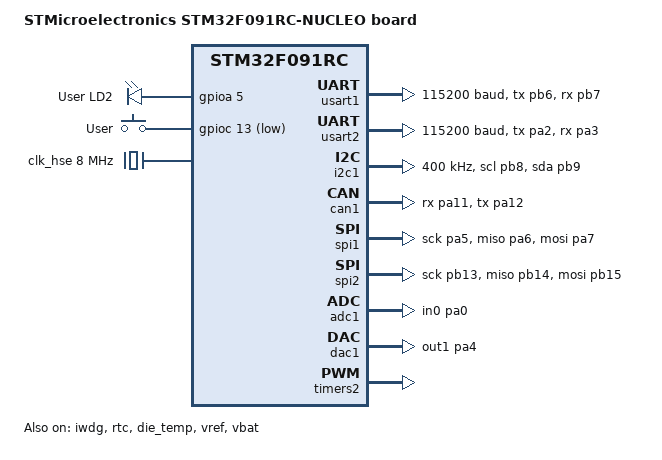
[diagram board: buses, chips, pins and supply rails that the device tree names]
/*
 * Copyright (c) 2017 Bobby Noelte
 *
 * SPDX-License-Identifier: Apache-2.0
 */

/dts-v1/;
#include <st/f0/stm32f091Xc.dtsi>
#include <st/f0/stm32f091r(b-c)tx-pinctrl.dtsi>
#include "arduino_r3_connector.dtsi"
#include "st_morpho_connector.dtsi"
#include <zephyr/dt-bindings/input/input-event-codes.h>

/ {
	model = "STMicroelectronics STM32F091RC-NUCLEO board";
	compatible = "st,stm32f091rc-nucleo";

	chosen {
		zephyr,console = &usart2;
		zephyr,shell-uart = &usart2;
		zephyr,sram = &sram0;
		zephyr,flash = &flash0;
		zephyr,canbus = &can1;
	};

	leds: leds {
		compatible = "gpio-leds";
		green_led_2: led_2 {
			gpios = <&gpioa 5 GPIO_ACTIVE_HIGH>;
			label = "User LD2";
		};
	};

	gpio_keys {
		compatible = "gpio-keys";
		user_button: button {
			label = "User";
			gpios = <&gpioc 13 GPIO_ACTIVE_LOW>;
			zephyr,code = <INPUT_KEY_0>;
		};
	};

	pwmleds: pwmleds {
		compatible = "pwm-leds";
		/* NOTE: disabled by default, PWM2 conflicts with SPI1 */
		status = "disabled";

		green_pwm_led: green_pwm_led {
			pwms = <&pwm2 1 PWM_MSEC(20) PWM_POLARITY_NORMAL>;
		};
	};

	aliases {
		led0 = &green_led_2;
		sw0 = &user_button;
		pwm-led0 = &green_pwm_led;
		watchdog0 = &iwdg;
		die-temp0 = &die_temp;
		volt-sensor0 = &vref;
		volt-sensor1 = &vbat;
	};
};

&clk_hse {
	hse-bypass;
	clock-frequency = <DT_FREQ_M(8)>; /* STLink 8MHz clock */
	status = "okay";
};

&clk_lsi {
	status = "okay";
};

&pll {
	prediv = <1>;
	mul = <6>;
	clocks = <&clk_hse>;
	status = "okay";
};

&rcc {
	clocks = <&pll>;
	clock-frequency = <DT_FREQ_M(48)>;
	ahb-prescaler = <1>;
	apb1-prescaler = <1>;
};

&usart1 {
	pinctrl-0 = <&usart1_tx_pb6 &usart1_rx_pb7>;
	pinctrl-names = "default";
	current-speed = <115200>;
};

&usart2 {
	pinctrl-0 = <&usart2_tx_pa2 &usart2_rx_pa3>;
	pinctrl-names = "default";
	current-speed = <115200>;
	status = "okay";
};

&i2c1 {
	pinctrl-0 = <&i2c1_scl_pb8 &i2c1_sda_pb9>;
	pinctrl-names = "default";
	status = "okay";
	clock-frequency = <I2C_BITRATE_FAST>;
};

&i2c2 {
	/* Pin conflict with can1. Enable only with can1 disabled. */
	pinctrl-0 = <&i2c2_scl_pa11 &i2c2_sda_pa12>;
	pinctrl-names = "default";
	status = "disabled";
	clock-frequency = <I2C_BITRATE_FAST>;
};

&can1 {
	pinctrl-0 = <&can_rx_pa11 &can_tx_pa12>;
	pinctrl-names = "default";
	status = "okay";
};

&spi1 {
	pinctrl-0 = <&spi1_sck_pa5 &spi1_miso_pa6 &spi1_mosi_pa7>;
	pinctrl-names = "default";
	status = "okay";
};

&spi2 {
	pinctrl-0 = <&spi2_sck_pb13 &spi2_miso_pb14 &spi2_mosi_pb15>;
	pinctrl-names = "default";
	status = "okay";
};

&iwdg {
	status = "okay";
};

&rtc {
	clocks = <&rcc STM32_CLOCK_BUS_APB1 0x10000000>,
		 <&rcc STM32_SRC_LSI RTC_SEL(2)>;
	status = "okay";
};

&flash0 {

	partitions {
		compatible = "fixed-partitions";
		#address-cells = <1>;
		#size-cells = <1>;

		/* Set 6Kb of storage at the end of the 256Kb of flash */
		storage_partition: partition@3e800 {
			label = "storage";
			reg = <0x0003e800 DT_SIZE_K(6)>;
		};
	};
};

&adc1 {
	pinctrl-0 = <&adc_in0_pa0>;
	pinctrl-names = "default";
	st,adc-clock-source = <SYNC>;
	st,adc-prescaler = <4>;
	status = "okay";
};

&die_temp {
	status = "okay";
};

&dac1 {
	status = "okay";
	pinctrl-0 = <&dac_out1_pa4>;
	pinctrl-names = "default";
};

&dma1 {
	status = "okay";
};

&timers2 {
	st,prescaler = <10000>;
	status = "okay";

	pwm2: pwm {
		/* NOTE: disabled by default, PWM2 conflicts with SPI1 */
		pinctrl-0 = <&tim2_ch1_pa5>;
		pinctrl-names = "default";
	};
};

&vref {
	status = "okay";
};

&vbat {
	status = "okay";
};
